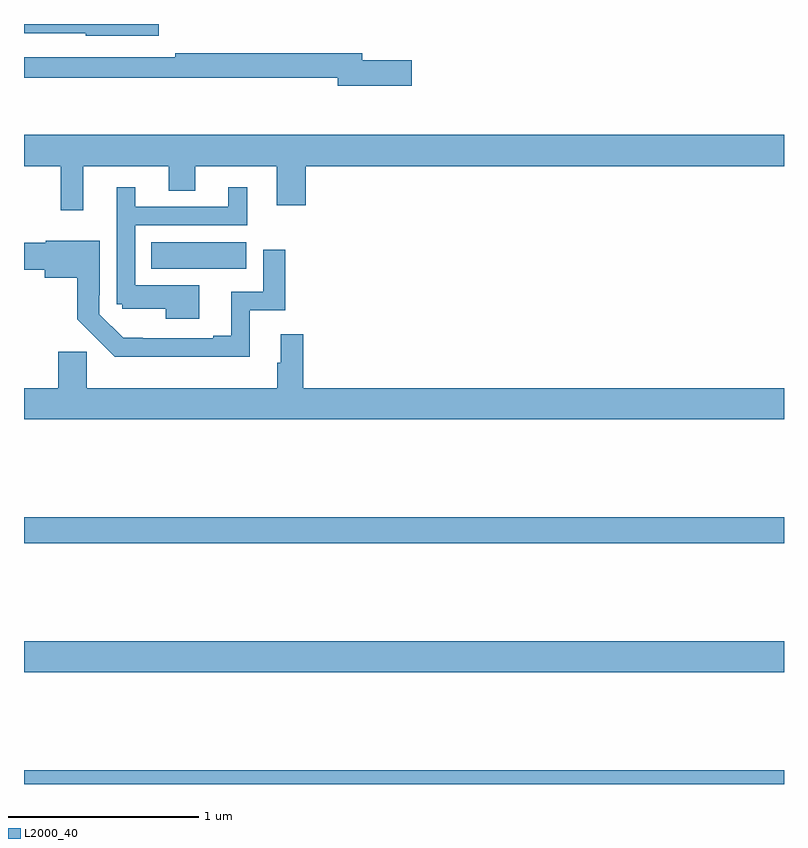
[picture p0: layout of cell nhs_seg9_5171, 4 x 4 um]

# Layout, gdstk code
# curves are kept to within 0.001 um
import gdstk
lib = gdstk.Library(unit=1e-6, precision=1e-09)
def R(c, l, rs):  # rectangles x0, y0, x1, y1
    for r in rs: c.add(gdstk.rectangle(r[:2], r[2:], *l))
def P(c, l, *ps):  # polygons
    for p in ps: c.add(gdstk.Polygon(p, *l))
L2000_40 = (2000, 40)

nhs_seg9_5171 = lib.new_cell('nhs_seg9_5171')
R(nhs_seg9_5171, L2000_40, [(411,1194.5,415,1194.572), (411,1195.088,415,1195.252), (411,1195.768,415,1195.904), (411.67,1197.212,412.171,1197.352)])
P(nhs_seg9_5171, L2000_40, [(411.709,1198.5),(411,1198.5),(411,1198.452),(411.324,1198.452),(411.324,1198.439),(411.709,1198.439)],
  [(413.041,1198.31),(412.78,1198.31),(412.78,1198.346),(411.796,1198.346),(411.796,1198.326),(411,1198.326),(411,1198.218),(412.652,1198.218),(412.652,1198.175),(413.041,1198.175)],
  [(411.311,1197.752),(411.761,1197.752),(411.761,1197.622),(411.901,1197.622),(411.901,1197.752),(412.331,1197.752),(412.331,1197.546),(412.484,1197.546),(412.484,1197.752),(415,1197.752),(415,1197.916),(411,1197.916),(411,1197.752),(411.193,1197.752),(411.193,1197.519),(411.311,1197.519)],
  [(411.922,1197.124),(411.585,1197.124),(411.585,1197.441),(412.174,1197.441),(412.174,1197.64),(412.076,1197.64),(412.076,1197.537),(411.586,1197.537),(411.586,1197.64),(411.489,1197.64),(411.489,1197.024),(411.516,1197.024),(411.516,1197.002),(411.746,1197.002),(411.746,1196.948),(411.922,1196.948)],
  [(411.677,1196.75),(412.189,1196.75),(412.189,1196.994),(412.376,1196.994),(412.376,1197.313),(412.26,1197.313),(412.26,1197.09),(412.091,1197.09),(412.091,1196.86),(411.995,1196.86),(411.995,1196.847),(411.522,1196.848),(411.396,1196.973),(411.396,1197.073),(411.399,1197.073),(411.399,1197.358),(411.114,1197.358),(411.114,1197.348),(411,1197.348),(411,1197.206),(411.11,1197.206),(411.11,1197.164),(411.281,1197.164),(411.281,1196.945),(411.478,1196.748),(411.677,1196.748)],
  [(415,1196.584),(412.469,1196.584),(412.469,1196.866),(412.352,1196.866),(412.352,1196.717),(412.333,1196.717),(412.333,1196.584),(411.329,1196.584),(411.329,1196.775),(411.179,1196.775),(411.179,1196.584),(411,1196.584),(411,1196.42),(415,1196.42)])

lib.write_gds('nhs_seg9_5171.gds')
